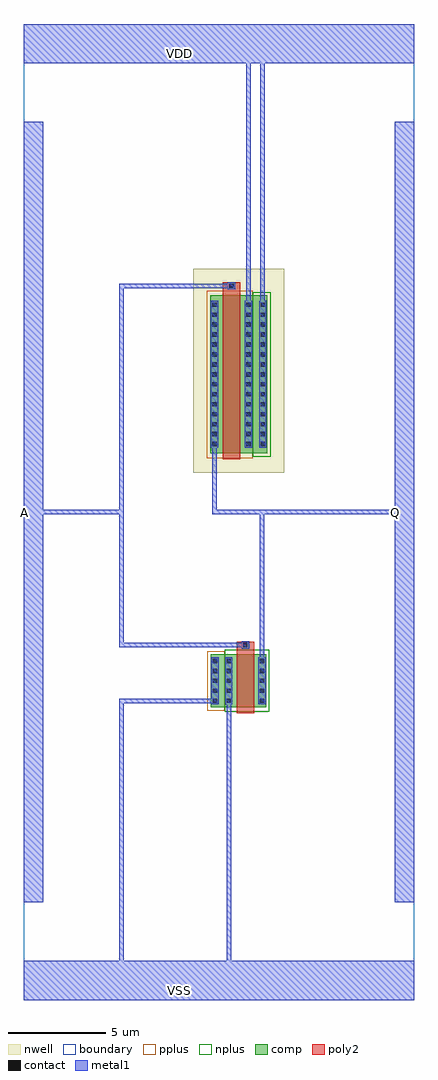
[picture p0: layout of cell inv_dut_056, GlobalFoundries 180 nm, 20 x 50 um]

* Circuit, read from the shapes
.subckt inv_dut_056 A Q VDD VSS
XM1 Q A VSS VSS nfet_03v3 w=2.7u l=0.9u
XM2 VDD A Q VDD pfet_03v3 w=8.1u l=0.9u
.ends

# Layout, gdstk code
from math import pi, radians
import gdstk
lib = gdstk.Library(unit=1e-6, precision=1e-09)
def R(c, l, rs):  # rectangles x0, y0, x1, y1
    for r in rs: c.add(gdstk.rectangle(r[:2], r[2:], *l))
def A(c, l, x, y, w, h, nx, ny, dx, dy):  # array of equal rectangles
    R(c, l, [(x+i*dx, y+j*dy, x+i*dx+w, y+j*dy+h) for i in range(nx) for j in range(ny)])
boundary = (0, 0)
nwell = (21, 0)
comp = (22, 0)
poly2 = (30, 0)
pplus = (31, 0)
nplus = (32, 0)
contact = (33, 0)
metal1 = (34, 0)

pfet = lib.new_cell('pfet')
R(pfet, nwell, [(-1.32,-0.99,3.33,9.47)])
R(pfet, comp, [(-0.46,0,2.47,8.1)])
R(pfet, poly2, [(0.19,-0.3,1.09,8.78)])
R(pfet, pplus, [(-0.63,-0.24,1.74,8.34)])
R(pfet, nplus, [(1.74,-0.17,2.64,8.27)])
A(pfet, contact, -0.34, 0.37, 0.22, 0.22, 1, 15, 0, 0.51)
A(pfet, contact, 1.4, 0.37, 0.22, 0.22, 1, 15, 0, 0.51)
A(pfet, contact, 2.13, 0.37, 0.22, 0.22, 1, 15, 0, 0.51)
R(pfet, contact, [(0.53,8.48,0.75,8.7)])
R(pfet, metal1, [(-0.42,0.29,-0.04,7.81), (1.32,0.29,1.7,7.81), (2.05,0.29,2.43,7.81), (0.45,8.4,0.83,8.78)])

nfet = lib.new_cell('nfet')
R(nfet, comp, [(-0.42,0,2.41,2.7)])
R(nfet, poly2, [(0.19,-0.3,1.09,3.36)])
R(nfet, pplus, [(1.7,-0.17,2.58,2.87)])
R(nfet, nplus, [(-0.59,-0.24,1.7,2.94)])
A(nfet, contact, -0.32, 0.22, 0.22, 0.22, 1, 5, 0, 0.51)
A(nfet, contact, 1.38, 0.22, 0.22, 0.22, 1, 5, 0, 0.51)
A(nfet, contact, 2.09, 0.22, 0.22, 0.22, 1, 5, 0, 0.51)
R(nfet, contact, [(0.53,3.07,0.75,3.29)])
R(nfet, metal1, [(-0.4,0.14,-0.02,2.56), (1.3,0.14,1.68,2.56), (2.01,0.14,2.39,2.56), (0.45,2.99,0.83,3.37)])

inv_dut_056 = lib.new_cell('inv_dut_056')
R(inv_dut_056, boundary, [(-10,-25,10,25)])
R(inv_dut_056, metal1, [(-10,-25,10,-23), (-10,-20,-9,20), (9,-20,10,20), (-10,23,10,25)])
inv_dut_056.add(gdstk.FlexPath([(1.46,-6.82),(-5,-6.82),(-5,0)], 0.23, ends="flush", simple_path=True, layer=34, datatype=0))  # metal1
inv_dut_056.add(gdstk.FlexPath([(2.2,-7.74),(2.2,0),(9.5,0),(9.5,0),(9.5,0)], 0.23, ends="flush", simple_path=True, layer=34, datatype=0))  # metal1
inv_dut_056.add(gdstk.FlexPath([(0.5,-9.56),(0.5,-24),(0.3,-24)], 0.23, ends="flush", simple_path=True, layer=34, datatype=0))  # metal1
inv_dut_056.add(gdstk.FlexPath([(1.51,10.51),(1.51,24)], 0.23, ends="flush", simple_path=True, layer=34, datatype=0))  # metal1
inv_dut_056.add(gdstk.FlexPath([(-0.23,3.59),(-0.23,0),(2.2,0)], 0.23, ends="flush", simple_path=True, layer=34, datatype=0))  # metal1
inv_dut_056.add(gdstk.FlexPath([(0.75,11.59),(-5,11.59),(-5,0),(-9.5,0)], 0.23, ends="flush", simple_path=True, layer=34, datatype=0))  # metal1
inv_dut_056.add(gdstk.FlexPath([(-0.1,-9.67),(-5,-9.67),(-5,-24)], 0.23, ends="flush", simple_path=True, layer=34, datatype=0))  # metal1
inv_dut_056.add(gdstk.FlexPath([(2.24,10.51),(2.24,24)], 0.23, ends="flush", simple_path=True, layer=34, datatype=0))  # metal1
inv_dut_056.add(gdstk.Reference(pfet, (0,3)))
inv_dut_056.add(gdstk.Reference(nfet, (1.99,-10), rotation=pi, x_reflection=True))
inv_dut_056.add(gdstk.Label('VDD', (-2,23.5), layer=34, texttype=10))
inv_dut_056.add(gdstk.Label('VSS', (-2,-24.5), layer=34, texttype=10))
inv_dut_056.add(gdstk.Label('A', (-9.97,0), layer=34, texttype=10))
inv_dut_056.add(gdstk.Label('Q', (9.03,0), layer=34, texttype=10))

lib.write_gds('inv_dut_056.gds')
